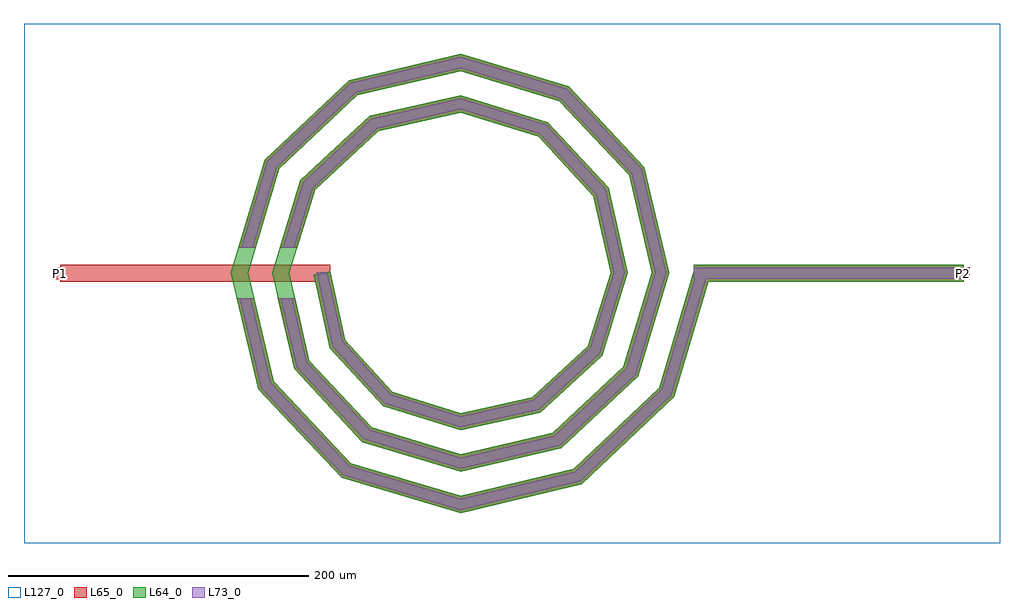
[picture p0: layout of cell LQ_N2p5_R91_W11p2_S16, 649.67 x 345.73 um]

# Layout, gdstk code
import gdstk
lib = gdstk.Library(unit=1e-6, precision=1e-09)
def R(c, l, rs):  # rectangles x0, y0, x1, y1
    for r in rs: c.add(gdstk.rectangle(r[:2], r[2:], *l))
def P(c, l, *ps):  # polygons
    for p in ps: c.add(gdstk.Polygon(p, *l))
L64_0 = (64, 0)
L65_0 = (65, 0)
L73_0 = (73, 0)
L127_0 = (127, 0)

lq_n2p5_r91_w11p2_s16 = lib.new_cell('LQ_N2p5_R91_W11p2_S16')
R(lq_n2p5_r91_w11p2_s16, L64_0, [(155.225,-5.6,335.225,5.6)])
P(lq_n2p5_r91_w11p2_s16, L64_0, [(-76.551,-44.5),(-45.196,-78.796),(0.251,-93.13),(47.923,-82.516),(84.743,-48.65),(100.007,0.234),(88.479,51.348),(52.102,90.692),(0.22,106.885),(-54.775,94.442),(-96.641,55.552),(-113.762,0.207),(-100.405,-58.204),(-59.001,-102.592),(0.196,-120.64),(61.633,-106.366),(108.543,-62.449),(127.518,0.186),(112.328,65.064),(65.896,114.494),(0.177,134.396),(-68.495,118.288),(-120.447,69.342),(-141.273,0.169),(-124.249,-71.927),(-72.788,-126.399),(0.161,-148.151),(75.359,-130.209),(132.352,-76.233),(155.457,1.594),(166.193,-1.594),(142.234,-82.3),(80.88,-140.406),(0.161,-159.743),(-78.866,-136.274),(-134.453,-77.435),(-152.864,0.169),(-130.313,75.434),(-73.989,128.5),(0.177,145.986),(72.002,124.352),(122.548,70.542),(139.108,0.186),(118.391,-68.571),(67.094,-116.596),(0.196,-132.229),(-65.141,-112.429),(-110.645,-63.646),(-125.351,0.207),(-106.466,61.712),(-60.196,104.694),(0.22,118.473),(58.284,100.502),(98.744,56.745),(111.594,0.234),(94.538,-54.858),(53.292,-92.794),(0.251,-104.715),(-51.433,-88.572),(-86.846,-49.837),(-97.514,-1.2),(-86.575,1.2)])
R(lq_n2p5_r91_w11p2_s16, L65_0, [(-266.445,-5.6,-86.445,5.6), (155.225,-5.6,335.225,5.6), (-270.445,-4,-262.445,4), (331.225,-4,339.225,4)])
P(lq_n2p5_r91_w11p2_s16, L65_0, [(-124.249,-71.927),(-72.788,-126.399),(0.161,-148.151),(75.359,-130.209),(132.352,-76.233),(155.457,1.594),(166.193,-1.594),(142.234,-82.3),(80.88,-140.406),(0.161,-159.743),(-78.867,-136.274),(-134.453,-77.435),(-148.839,-16.8),(-137.328,-16.8)],
  [(-100.405,-58.204),(-59.001,-102.592),(0.196,-120.64),(61.633,-106.367),(108.543,-62.449),(127.518,0.186),(112.328,65.064),(65.896,114.495),(0.177,134.396),(-68.495,118.289),(-120.447,69.342),(-136.189,16.8),(-147.881,16.8),(-130.313,75.434),(-73.989,128.5),(0.177,145.986),(72.002,124.352),(122.548,70.542),(139.108,0.186),(118.391,-68.571),(67.094,-116.596),(0.196,-132.229),(-65.141,-112.429),(-110.645,-63.646),(-121.434,-16.8),(-109.941,-16.8)],
  [(-45.196,-78.796),(0.251,-93.13),(47.923,-82.516),(84.743,-48.65),(100.007,0.234),(88.479,51.348),(52.102,90.692),(0.22,106.885),(-54.775,94.442),(-96.641,55.552),(-108.54,16.8),(-120.256,16.8),(-106.466,61.712),(-60.196,104.694),(0.22,118.473),(58.284,100.502),(98.744,56.745),(111.594,0.234),(94.538,-54.858),(53.292,-92.794),(0.251,-104.715),(-51.433,-88.572),(-86.846,-49.837),(-97.515,-1.2),(-86.575,1.2),(-76.551,-44.5)])
R(lq_n2p5_r91_w11p2_s16, L73_0, [(155.225,-3.6,335.225,3.6)])
P(lq_n2p5_r91_w11p2_s16, L73_0, [(-126.071,-72.91),(-73.873,-128.162),(0.104,-150.221),(76.345,-132.03),(134.117,-77.316),(157.374,1.025),(164.276,-1.025),(140.469,-81.216),(79.894,-138.585),(0.104,-157.673),(-77.781,-134.511),(-132.631,-76.451),(-146.783,-16.8),(-139.383,-16.8)],
  [(-102.233,-59.175),(-60.097,-104.348),(0.126,-122.71),(62.608,-108.193),(110.301,-63.542),(129.587,0.12),(114.153,66.042),(66.986,116.255),(0.114,136.465),(-69.476,120.112),(-122.209,70.43),(-138.277,16.8),(-145.793,16.8),(-128.551,74.346),(-73.008,126.677),(0.114,143.916),(70.912,122.592),(120.723,69.564),(137.038,0.12),(116.632,-67.478),(66.119,-114.769),(0.126,-130.16),(-64.045,-110.672),(-108.816,-62.674),(-119.382,-16.8),(-111.993,-16.8)],
  [(-46.31,-80.541),(0.161,-95.199),(48.882,-84.351),(86.492,-49.759),(102.076,0.151),(90.312,52.312),(53.206,92.444),(0.141,108.954),(-55.743,96.273),(-98.396,56.652),(-110.632,16.8),(-118.164,16.8),(-104.712,60.612),(-59.228,102.863),(0.141,116.403),(57.18,98.751),(96.911,55.781),(109.525,0.151),(92.789,-53.749),(52.333,-90.959),(0.161,-102.647),(-50.32,-86.826),(-85.008,-48.884),(-95.561,0.771),(-88.528,0.771),(-78.389,-45.453)])
R(lq_n2p5_r91_w11p2_s16, L127_0, [(-290.445,-179.743,359.225,165.986)])
lq_n2p5_r91_w11p2_s16.add(gdstk.Label('P2', (335.225,0), layer=65, texttype=0))
lq_n2p5_r91_w11p2_s16.add(gdstk.Label('P1', (-266.445,0), layer=65, texttype=0))
lq_n2p5_r91_w11p2_s16.add(gdstk.Label('P2', (339.225,0), layer=145, texttype=0))
lq_n2p5_r91_w11p2_s16.add(gdstk.Label('P1', (-270.445,0), layer=145, texttype=0))

lib.write_gds('LQ_N2p5_R91_W11p2_S16.gds')
